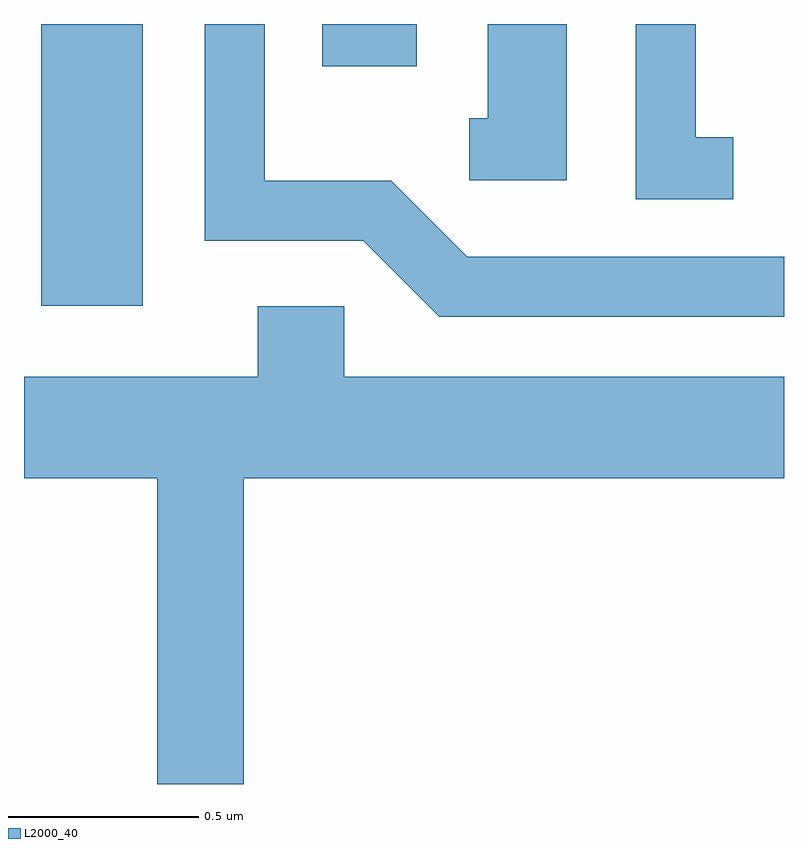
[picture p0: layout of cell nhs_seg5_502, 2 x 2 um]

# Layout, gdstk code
import gdstk
lib = gdstk.Library(unit=1e-6, precision=1e-09)
def R(c, l, rs):  # rectangles x0, y0, x1, y1
    for r in rs: c.add(gdstk.rectangle(r[:2], r[2:], *l))
def P(c, l, *ps):  # polygons
    for p in ps: c.add(gdstk.Polygon(p, *l))
L2000_40 = (2000, 40)

nhs_seg5_502 = lib.new_cell('nhs_seg5_502')
R(nhs_seg5_502, L2000_40, [(188.656,1488.331,188.924,1489.072), (189.396,1488.961,189.644,1489.072)])
P(nhs_seg5_502, L2000_40, [(190.039,1489.072),(189.831,1489.072),(189.831,1488.824),(189.783,1488.824),(189.783,1488.661),(190.039,1488.661)],
  [(190.611,1488.459),(189.777,1488.459),(189.577,1488.659),(189.244,1488.659),(189.244,1489.072),(189.086,1489.072),(189.086,1488.501),(189.504,1488.501),(189.704,1488.301),(190.611,1488.301)],
  [(190.478,1488.774),(190.379,1488.774),(190.379,1489.072),(190.221,1489.072),(190.221,1488.611),(190.478,1488.611)],
  [(189.189,1487.876),(190.611,1487.876),(190.611,1488.144),(189.454,1488.144),(189.454,1488.329),(189.226,1488.329),(189.226,1488.144),(188.611,1488.144),(188.611,1487.876),(188.961,1487.876),(188.961,1487.072),(189.189,1487.072)])

lib.write_gds('nhs_seg5_502.gds')
